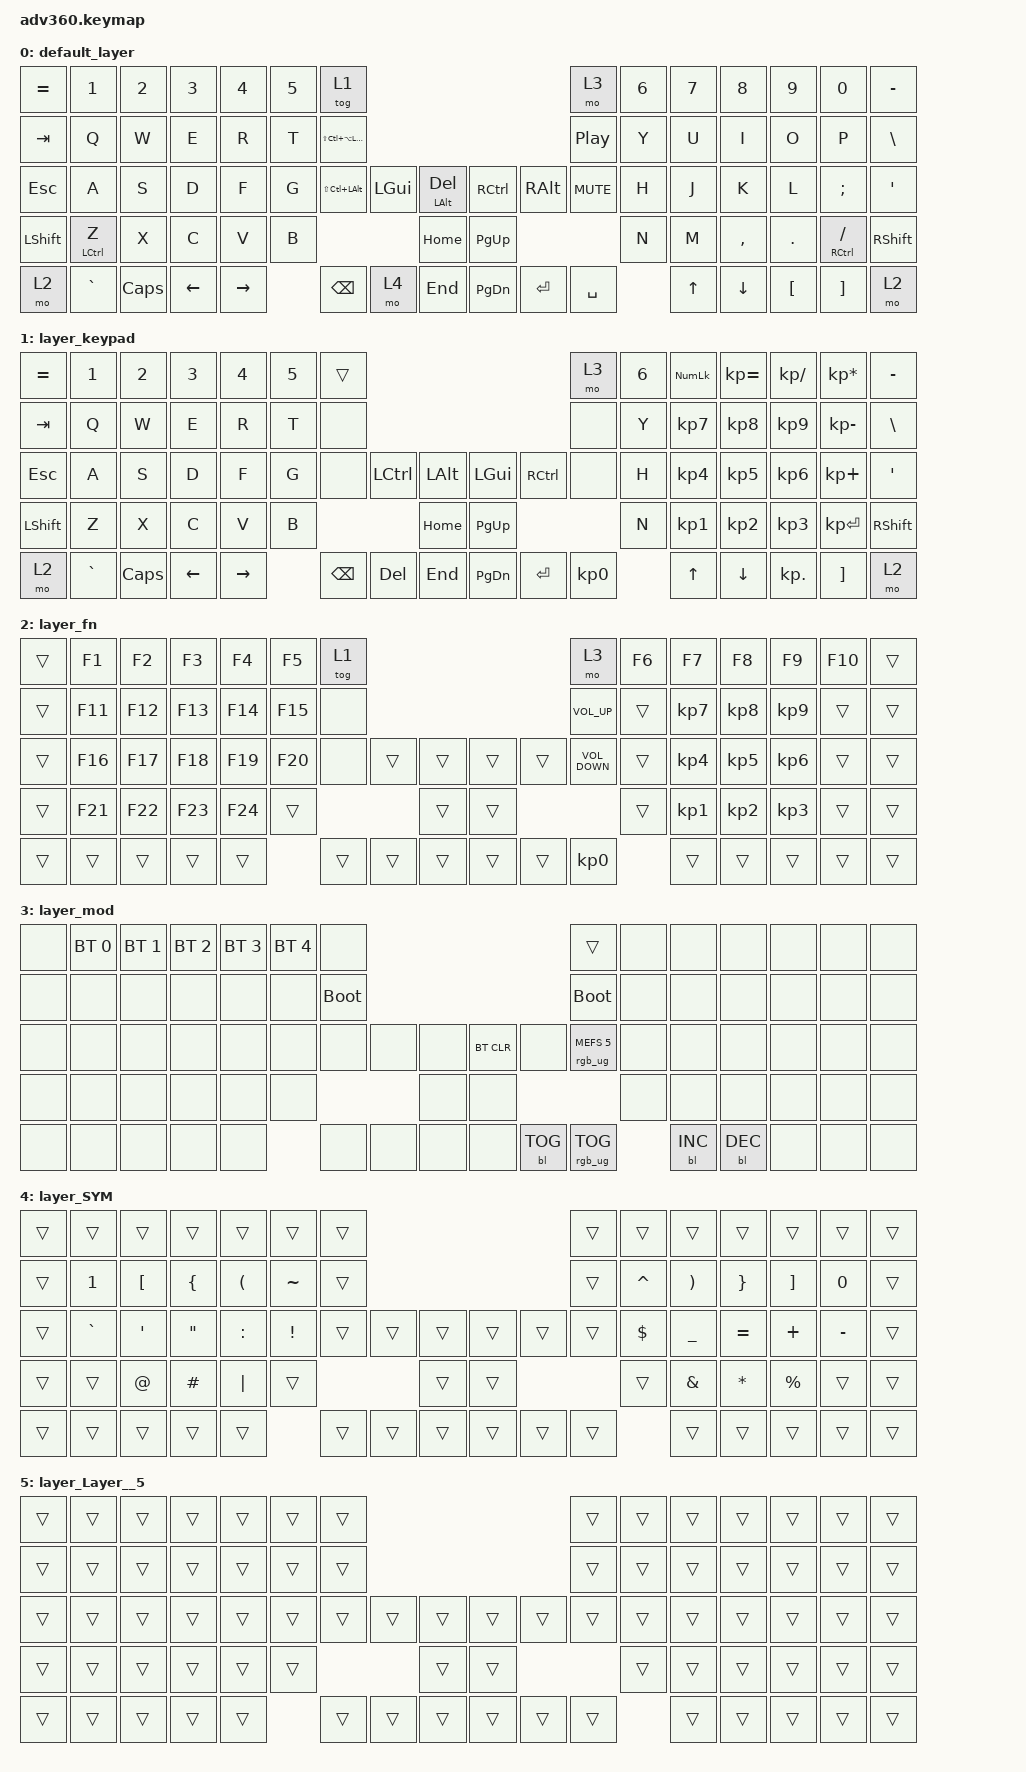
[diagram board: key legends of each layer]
/*
 * Copyright (c) 2020 The ZMK Contributors
 *
 * SPDX-License-Identifier: MIT
 */
/* THIS FILE WAS GENERATED!
 *
 * This file was generated automatically. You may or may not want to
 * edit it directly.
 */

#include <behaviors.dtsi>
#include <dt-bindings/zmk/keys.h>
#include <dt-bindings/zmk/bt.h>
#include <dt-bindings/zmk/rgb.h>
#include <dt-bindings/zmk/stp.h>
#include <dt-bindings/zmk/backlight.h>
#include <dt-bindings/zmk/pointing.h>

/ {
    behaviors {
      #include "macros.dtsi"
      #include "version.dtsi"

        hm: homerow_mods {
            compatible = "zmk,behavior-hold-tap";
            label = "HOMEROW_MODS";
            #binding-cells = <2>;
            tapping-term-ms = <200>;
            quick_tap_ms = <175>;
            flavor = "tap-preferred";
            bindings = <&kp>, <&kp>;
        };
    };

    keymap {
        compatible = "zmk,keymap";

        default_layer {
            bindings = <
&kp EQUAL  &kp N1       &kp N2    &kp N3    &kp N4     &kp N5  &tog 1                                                                          &mo 3             &kp N6  &kp N7  &kp N8     &kp N9    &kp N0           &kp MINUS
&kp TAB    &kp Q        &kp W     &kp E     &kp R      &kp T   &kp LS(LC(LA(LGUI)))                                                            &kp C_PLAY_PAUSE  &kp Y   &kp U   &kp I      &kp O     &kp P            &kp BSLH
&kp ESC    &kp A        &kp S     &kp D     &kp F      &kp G   &kp LS(LC(LALT))      &kp LGUI  &mt LALT DEL      &kp RIGHT_CONTROL  &kp RALT   &kp C_MUTE        &kp H   &kp J   &kp K      &kp L     &kp SEMI         &kp SQT
&kp LSHFT  &mt LCTRL Z  &kp X     &kp C     &kp V      &kp B                                   &kp HOME          &kp PG_UP                                       &kp N   &kp M   &kp COMMA  &kp DOT   &mt RCTRL SLASH  &kp RSHFT
&mo 2      &kp GRAVE    &kp CAPS  &kp LEFT  &kp RIGHT          &kp BSPC              &mo 4     &kp END           &kp PG_DN          &kp ENTER  &kp SPACE                 &kp UP  &kp DOWN   &kp LBKT  &kp RBKT         &mo 2
            >;
        };

        layer_keypad {
            bindings = <
&kp EQUAL  &kp N1     &kp N2    &kp N3    &kp N4     &kp N5  &trans                                                   &mo 3      &kp N6  &kp KP_NUM  &kp KP_EQUAL  &kp KP_DIVIDE  &kp KP_MULTIPLY  &kp MINUS
&kp TAB    &kp Q      &kp W     &kp E     &kp R      &kp T   &none                                                    &none      &kp Y   &kp KP_N7   &kp KP_N8     &kp KP_N9      &kp KP_MINUS     &kp BSLH
&kp ESC    &kp A      &kp S     &kp D     &kp F      &kp G   &none     &kp LCTRL  &kp LALT      &kp LGUI   &kp RCTRL  &none      &kp H   &kp KP_N4   &kp KP_N5     &kp KP_N6      &kp KP_PLUS      &kp SQT
&kp LSHFT  &kp Z      &kp X     &kp C     &kp V      &kp B                        &kp HOME      &kp PG_UP                        &kp N   &kp KP_N1   &kp KP_N2     &kp KP_N3      &kp KP_ENTER     &kp RSHFT
&mo 2      &kp GRAVE  &kp CAPS  &kp LEFT  &kp RIGHT          &kp BSPC  &kp DEL    &kp END       &kp PG_DN  &kp ENTER  &kp KP_N0          &kp UP      &kp DOWN      &kp KP_DOT     &kp RBKT         &mo 2
            >;
        };

        layer_fn {
            bindings = <
&trans  &kp F1   &kp F2   &kp F3   &kp F4   &kp F5   &tog 1                                      &mo 3              &kp F6  &kp F7     &kp F8     &kp F9     &kp F10  &trans
&trans  &kp F11  &kp F12  &kp F13  &kp F14  &kp F15  &none                                       &kp C_VOLUME_UP    &trans  &kp KP_N7  &kp KP_N8  &kp KP_N9  &trans   &trans
&trans  &kp F16  &kp F17  &kp F18  &kp F19  &kp F20  &none   &trans  &trans      &trans  &trans  &kp C_VOLUME_DOWN  &trans  &kp KP_N4  &kp KP_N5  &kp KP_N6  &trans   &trans
&trans  &kp F21  &kp F22  &kp F23  &kp F24  &trans                   &trans      &trans                             &trans  &kp KP_N1  &kp KP_N2  &kp KP_N3  &trans   &trans
&trans  &trans   &trans   &trans   &trans            &trans  &trans  &trans      &trans  &trans  &kp KP_N0                  &trans     &trans     &trans     &trans   &trans
            >;
        };

        layer_mod {
            bindings = <
&none  &bt BT_SEL 0  &bt BT_SEL 1  &bt BT_SEL 2  &bt BT_SEL 3  &bt BT_SEL 4  &none                                                  &trans                  &none  &none       &none       &none  &none  &none
&none  &none         &none         &none         &none         &none         &bootloader                                            &bootloader             &none  &none       &none       &none  &none  &none
&none  &none         &none         &none         &none         &none         &none        &none  &none      &bt BT_CLR  &none       &rgb_ug RGB_MEFS_CMD 5  &none  &none       &none       &none  &none  &none
&none  &none         &none         &none         &none         &none                             &none      &none                                           &none  &none       &none       &none  &none  &none
&none  &none         &none         &none         &none                       &none        &none  &none      &none       &bl BL_TOG  &rgb_ug RGB_TOG                &bl BL_INC  &bl BL_DEC  &none  &none  &none
            >;
        };

        layer_SYM {
            bindings = <
&trans  &trans     &trans            &trans             &trans     &trans     &trans                                      &trans  &trans     &trans     &trans     &trans     &trans     &trans
&trans  &kp N1     &kp LBKT          &kp LBRC           &kp LPAR   &kp TILDE  &trans                                      &trans  &kp CARET  &kp RPAR   &kp RBRC   &kp RBKT   &kp N0     &trans
&trans  &kp GRAVE  &kp SINGLE_QUOTE  &kp DOUBLE_QUOTES  &kp COLON  &kp EXCL   &trans  &trans  &trans      &trans  &trans  &trans  &kp DLLR   &kp UNDER  &kp EQUAL  &kp PLUS   &kp MINUS  &trans
&trans  &trans     &kp AT            &kp HASH           &kp PIPE   &trans                     &trans      &trans                  &trans     &kp AMPS   &kp STAR   &kp PRCNT  &trans     &trans
&trans  &trans     &trans            &trans             &trans                &trans  &trans  &trans      &trans  &trans  &trans             &trans     &trans     &trans     &trans     &trans
            >;
        };

        layer_Layer__5 {
            bindings = <
&trans  &trans  &trans  &trans  &trans  &trans  &trans                                      &trans  &trans  &trans  &trans  &trans  &trans  &trans
&trans  &trans  &trans  &trans  &trans  &trans  &trans                                      &trans  &trans  &trans  &trans  &trans  &trans  &trans
&trans  &trans  &trans  &trans  &trans  &trans  &trans  &trans  &trans      &trans  &trans  &trans  &trans  &trans  &trans  &trans  &trans  &trans
&trans  &trans  &trans  &trans  &trans  &trans                  &trans      &trans                  &trans  &trans  &trans  &trans  &trans  &trans
&trans  &trans  &trans  &trans  &trans          &trans  &trans  &trans      &trans  &trans  &trans          &trans  &trans  &trans  &trans  &trans
            >;
        };
    };
};
